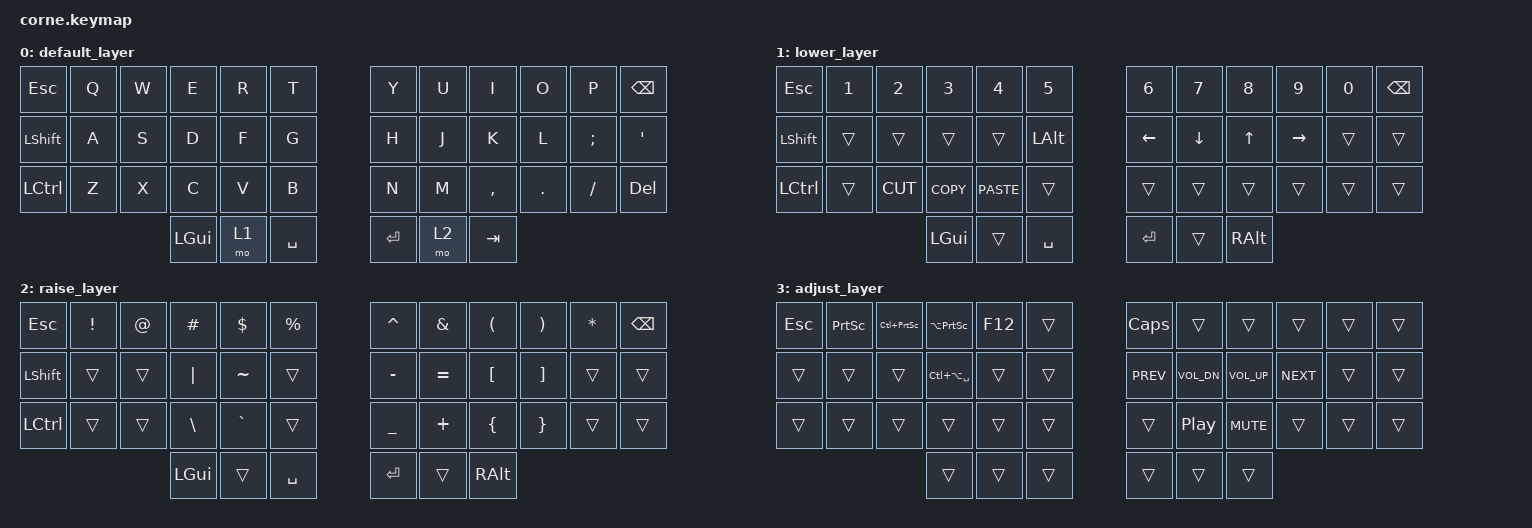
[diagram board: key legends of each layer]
/*
 * Copyright (c) 2020 The ZMK Contributors
 *
 * SPDX-License-Identifier: MIT
 */

#include <behaviors.dtsi>
#include <dt-bindings/zmk/keys.h>
#include <dt-bindings/zmk/bt.h>

/ {
        keymap {
                compatible = "zmk,keymap";

                default_layer {
// -----------------------------------------------------------------------------------------
// |  ESC |  Q  |  W  |  E  |  R  |  T  |   |  Y  |  U   |  I  |  O  |  P  | BSPC |
// | LSHFT |  A  |  S  |  D  |  F  |  G  |   |  H  |  J   |  K  |  L  |  ;  |  '   |
// | LCTRL |  Z  |  X  |  C  |  V  |  B  |   |  N  |  M   |  ,  |  .  |  /  |  del   |
//                    | GUI | LWR | SPC |   | ENT | RSE  | TAB |
                        bindings = <
   &kp ESC   &kp Q &kp W &kp E &kp R &kp T   &kp Y &kp U  &kp I     &kp O   &kp P    &kp BSPC
   &kp LSHFT &kp A &kp S &kp D &kp F &kp G   &kp H &kp J  &kp K     &kp L   &kp SEMI &kp SQT
   &kp LCTRL &kp Z &kp X &kp C &kp V &kp B  &kp N &kp M  &kp COMMA &kp DOT &kp FSLH &kp DEL
                   &kp LGUI    &mo 1 &kp SPACE  &kp RET &mo 2 &kp TAB
                        >;
                };
                lower_layer {
// -----------------------------------------------------------------------------------------
// |  ESC |  1  |  2  |  3  |  4  |  5  |   |  6  |  7  |  8  |  9  |  0  | BSPC |
// | LSHFT|     |     |     |     | LALT|   | LFT | DWN |  UP | RGT |     |      |
// | LCTRL|     | CUT | COPY|PASTE|     |   |     |     |     |     |     |      |
//                    | GUI |     | SPC |   | ENT |     | RALT|
                        bindings = <
   &kp ESC    &kp N1       &kp N2       &kp N3       &kp N4       &kp N5         &kp N6   &kp N7   &kp N8 &kp N9    &kp N0 &kp BSPC
   &kp LSHFT  &trans       &trans       &trans       &trans       &kp LALT       &kp LEFT &kp DOWN &kp UP &kp RIGHT &trans &trans
   &kp LCTRL  &trans       &kp K_CUT    &kp K_COPY   &kp K_PASTE  &trans         &trans   &trans   &trans &trans    &trans &trans
                                    &kp LGUI         &trans       &kp SPACE      &kp RET  &trans   &kp RALT
                        >;
                };

                raise_layer {
// -----------------------------------------------------------------------------------------
// |  ESC |  !  |  @  |  #  |  $  |  %  |   |  ^  |  &  |  (  |  )  |  *  | BSPC |
// | LSHFT|     |     | "|" |  ~  |     |   |  -  |  =  |  [  |  ]  |     |     |
// | LCTRL|     |     |  \  |  `  |     |   |  _  |  +  |  {  |  }  |     |     |
//                    | GUI |     | SPC |   | ENT |     | RALT|
                        bindings = <
   &kp  ESC  &kp EXCL &kp AT   &kp HASH   &kp DLLR  &kp PRCNT   &kp CARET   &kp AMPS  &kp LPAR  &kp RPAR  &kp ASTRK &kp BSPC
   &kp LSHFT &trans   &trans   &kp PIPE   &kp TILDE &trans      &kp MINUS   &kp EQUAL &kp LBKT  &kp RBKT  &trans    &trans
   &kp LCTRL &trans   &trans   &kp BSLH   &kp GRAVE &trans      &kp UNDER   &kp PLUS  &kp LBRC  &kp RBRC  &trans    &trans
                               &kp LGUI   &trans    &kp SPACE   &kp RET   &trans    &kp RALT
                        >;
                };

                adjust_layer {
// -----------------------------------------------------------------------------------------
// |      |     |     |     |     |     |   | CAPS |     |     |     |     |      |
// |      |     |     |  IN |     |     |   | PREV | VOL-| VOL+| NEXT|     |      |
// |      |     |     |     |     |     |   |     | PP  | MUTE|     |     |      |
//                    |     |     |     |   |     |     |     |
                        bindings = <
   &kp ESC &kp PSCRN &kp LC(PSCRN) &kp LA(PSCRN)   &kp F12     &trans     &kp CAPS     &trans       &trans       &trans     &trans &trans
   &trans &trans     &trans           &kp LC(LA(SPACE)) &trans      &trans     &kp C_PREV   &kp C_VOL_DN &kp C_VOL_UP &kp C_NEXT &trans &trans
   &trans &trans     &trans           &trans            &trans      &trans     &trans       &kp C_PP     &kp C_MUTE   &trans     &trans &trans
                     &trans            &trans      &trans     &trans       &trans       &trans
                        >;
                };
        };

        conditional_layers {
                compatible = "zmk,conditional-layers";
                tri_layer {
                        if-layers = <1 2>;
                        then-layer = <3>;
                };
        };
};
